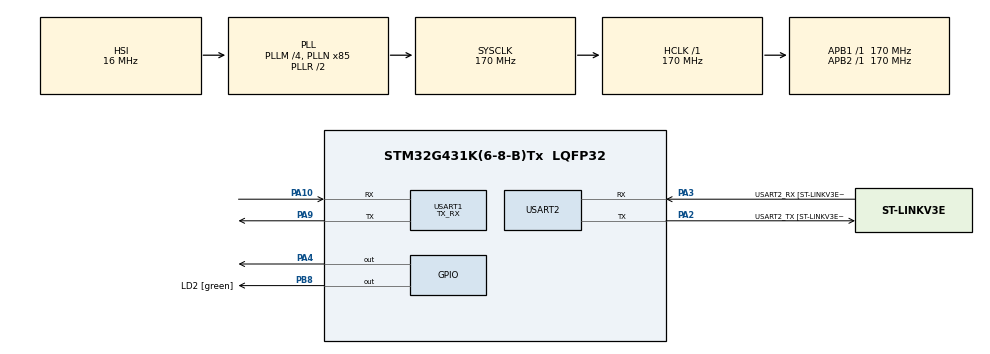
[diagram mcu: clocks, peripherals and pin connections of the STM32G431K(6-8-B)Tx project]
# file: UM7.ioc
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Mcu.Family=STM32G4
Mcu.Name=STM32G431K(6-8-B)Tx
Mcu.Package=LQFP32
NVIC.PriorityGroup=NVIC_PRIORITYGROUP_4
PA10.Mode=Asynchronous
PA10.Signal=USART1_RX
PA13.GPIO_Label=T_SWDIO
PA13.Mode=Serial_Wire
PA13.Signal=SYS_JTMS-SWDIO
PA14.GPIO_Label=T_SWCLK
PA14.Mode=Serial_Wire
PA14.Signal=SYS_JTCK-SWCLK
PA2.GPIO_Label=USART2_TX [ST-LINKV3E_VCP_RX]
PA2.Mode=Asynchronous
PA2.Signal=USART2_TX
PA3.GPIO_Label=USART2_RX [ST-LINKV3E_VCP_TX]
PA3.Mode=Asynchronous
PA3.Signal=USART2_RX
PA4.Signal=GPIO_Output
PA9.Mode=Asynchronous
PA9.Signal=USART1_TX
PB3.GPIO_Label=T_SWO
PB3.Signal=SYS_JTDO-SWO
PB8-BOOT0.GPIO_Label=LD2 [green]
PB8-BOOT0.Signal=GPIO_Output
ProjectManager.HeapSize=0x200
ProjectManager.StackSize=0x400
ProjectManager.TargetToolchain=STM32CubeIDE
RCC.ADC12Freq_Value=170000000
RCC.AHBFreq_Value=170000000
RCC.APB1Freq_Value=170000000
RCC.APB1TimFreq_Value=170000000
RCC.APB2Freq_Value=170000000
RCC.APB2TimFreq_Value=170000000
RCC.CortexFreq_Value=170000000
RCC.EXTERNAL_CLOCK_VALUE=12288000
RCC.HCLKFreq_Value=170000000
RCC.HSE_VALUE=8000000
RCC.HSI48_VALUE=48000000
RCC.HSI_VALUE=16000000
RCC.LSE_VALUE=32768
RCC.PLLM=RCC_PLLM_DIV4
RCC.PLLN=85
RCC.SYSCLKFreq_VALUE=170000000
RCC.SYSCLKSource=RCC_SYSCLKSOURCE_PLLCLK
RCC.USBFreq_Value=170000000
RCC.VCOOutputFreq_Value=340000000
USART1.Mode=MODE_TX_RX
USART1.StopBits=STOPBITS_1
USART1.VirtualMode-Asynchronous=VM_ASYNC
USART1.WordLength=WORDLENGTH_8B
USART2.VirtualMode-Asynchronous=VM_ASYNC
USART2.WordLength=WORDLENGTH_8B
board=NUCLEO-G431KB

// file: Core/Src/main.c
/* USER CODE BEGIN Header */
/**
  ******************************************************************************
  * @file           : main.c
  * @brief          : Main program body
  ******************************************************************************
  * @attention
  *
  * Copyright (c) 2023 STMicroelectronics.
  * All rights reserved.
  *
  * This software is licensed under terms that can be found in the LICENSE file
  * in the root directory of this software component.
  * If no LICENSE file comes with this software, it is provided AS-IS.
  *
  ******************************************************************************
  */
/* USER CODE END Header */
#include "main.h"

/* USER CODE BEGIN Includes */
#include<stdlib.h>
/* USER CODE END Includes */

UART_HandleTypeDef huart1;
UART_HandleTypeDef huart2;

void SystemClock_Config(void);
static void MX_GPIO_Init(void);
static void MX_USART2_UART_Init(void);
static void MX_USART1_UART_Init(void);
/* USER CODE BEGIN PFP */
void UART_PRINT_VAL(double value);
void UART_PRINT_TEXT(uint8_t* MSG);

void UM7_INIT(void);
uint32_t UM7_GET_DATA(uint8_t addr);
/* USER CODE END PFP */

int main(void)
{

  /* MCU Configuration--------------------------------------------------------*/

  /* Reset of all peripherals, Initializes the Flash interface and the Systick. */
  HAL_Init();

  /* Configure the system clock */
  SystemClock_Config();

  /* Initialize all configured peripherals */
  MX_GPIO_Init();
  MX_USART2_UART_Init();
  MX_USART1_UART_Init();
  /* USER CODE BEGIN 2 */
  	double xAccel = 0;
	double yAccel = 0;
	double zAccel = 0;
	double xMag = 0;
	double yMag = 0;
	double zMag = 0;
	double xGyro = 0;
	double yGyro = 0;
	double zGyro = 0;

	//HAL_GPIO_WritePin(GPIOA, GPIO_PIN_4, GPIO_PIN_SET);

	HAL_Delay(500);
	UM7_INIT();
	HAL_Delay(250);
  /* USER CODE END 2 */

  /* Infinite loop */
  /* USER CODE BEGIN WHILE */
  while (1)
  {
	  //xAccel = UM7_GET_DATA(0x65);
	  //yAccel = UM7_GET_DATA(0X66);
	  //zAccel = UM7_GET_DATA(0x67);

	  /*
	  uint8_t rx_data[11] = {0};
	  HAL_GPIO_WritePin(GPIOA, GPIO_PIN_4, GPIO_PIN_SET);
	  HAL_UART_Receive(&huart1, rx_data, 11, 50);
	  HAL_GPIO_WritePin(GPIOA, GPIO_PIN_4, GPIO_PIN_RESET);
	  UART_PRINT_TEXT(rx_data);
	  UART_PRINT_TEXT("\n");
	  */

	  //UART_PRINT_TEXT("Accelerometer: ");
	  //UART_PRINT_TEXT("( ");
	  //UART_PRINT_VAL(xAccel);
	  //UART_PRINT_TEXT(", ");
	  //UART_PRINT_VAL(yAccel);
	  //UART_PRINT_TEXT(", ");
	  //UART_PRINT_VAL(zAccel);
	  //UART_PRINT_TEXT(" )\n");
	  /*
	  UART_PRINT_TEXT("Magnetometer: ");
	  UART_PRINT_TEXT("( ");
	  UART_PRINT_VAL(xMag);
	  UART_PRINT_TEXT(", ");
	  UART_PRINT_VAL(yMag);
	  UART_PRINT_TEXT(", ");
	  UART_PRINT_VAL(zMag);
	  UART_PRINT_TEXT(" )\n");
	  UART_PRINT_TEXT("Gyro: ");
	  UART_PRINT_TEXT("( ");
	  UART_PRINT_VAL(xGyro);
	  UART_PRINT_TEXT(", ");
	  UART_PRINT_VAL(yGyro);
	  UART_PRINT_TEXT(", ");
	  UART_PRINT_VAL(zGyro);
	  */
	  //UART_PRINT_TEXT(" )\n");
	  HAL_Delay(30);
    /* USER CODE END WHILE */

  }
}

void SystemClock_Config(void)
{
  RCC_OscInitTypeDef RCC_OscInitStruct = {0};
  RCC_ClkInitTypeDef RCC_ClkInitStruct = {0};

  /** Configure the main internal regulator output voltage
  */
  HAL_PWREx_ControlVoltageScaling(PWR_REGULATOR_VOLTAGE_SCALE1_BOOST);

  /** Initializes the RCC Oscillators according to the specified parameters
  * in the RCC_OscInitTypeDef structure.
  */
  RCC_OscInitStruct.OscillatorType = RCC_OSCILLATORTYPE_HSI;
  RCC_OscInitStruct.HSIState = RCC_HSI_ON;
  RCC_OscInitStruct.HSICalibrationValue = RCC_HSICALIBRATION_DEFAULT;
  RCC_OscInitStruct.PLL.PLLState = RCC_PLL_ON;
  RCC_OscInitStruct.PLL.PLLSource = RCC_PLLSOURCE_HSI;
  RCC_OscInitStruct.PLL.PLLM = RCC_PLLM_DIV4;
  RCC_OscInitStruct.PLL.PLLN = 85;
  RCC_OscInitStruct.PLL.PLLP = RCC_PLLP_DIV2;
  RCC_OscInitStruct.PLL.PLLQ = RCC_PLLQ_DIV2;
  RCC_OscInitStruct.PLL.PLLR = RCC_PLLR_DIV2;
  if (HAL_RCC_OscConfig(&RCC_OscInitStruct) != HAL_OK)
  {
    Error_Handler();
  }

  /** Initializes the CPU, AHB and APB buses clocks
  */
  RCC_ClkInitStruct.ClockType = RCC_CLOCKTYPE_HCLK|RCC_CLOCKTYPE_SYSCLK
                              |RCC_CLOCKTYPE_PCLK1|RCC_CLOCKTYPE_PCLK2;
  RCC_ClkInitStruct.SYSCLKSource = RCC_SYSCLKSOURCE_PLLCLK;
  RCC_ClkInitStruct.AHBCLKDivider = RCC_SYSCLK_DIV1;
  RCC_ClkInitStruct.APB1CLKDivider = RCC_HCLK_DIV1;
  RCC_ClkInitStruct.APB2CLKDivider = RCC_HCLK_DIV1;

  if (HAL_RCC_ClockConfig(&RCC_ClkInitStruct, FLASH_LATENCY_4) != HAL_OK)
  {
    Error_Handler();
  }
}

static void MX_USART1_UART_Init(void)
{

  huart1.Instance = USART1;
  huart1.Init.BaudRate = 115200;
  huart1.Init.WordLength = UART_WORDLENGTH_8B;
  huart1.Init.StopBits = UART_STOPBITS_1;
  huart1.Init.Parity = UART_PARITY_NONE;
  huart1.Init.Mode = UART_MODE_TX_RX;
  huart1.Init.HwFlowCtl = UART_HWCONTROL_NONE;
  huart1.Init.OverSampling = UART_OVERSAMPLING_16;
  huart1.Init.OneBitSampling = UART_ONE_BIT_SAMPLE_DISABLE;
  huart1.Init.ClockPrescaler = UART_PRESCALER_DIV1;
  huart1.AdvancedInit.AdvFeatureInit = UART_ADVFEATURE_NO_INIT;
  if (HAL_UART_Init(&huart1) != HAL_OK)
  {
    Error_Handler();
  }
  if (HAL_UARTEx_SetTxFifoThreshold(&huart1, UART_TXFIFO_THRESHOLD_1_8) != HAL_OK)
  {
    Error_Handler();
  }
  if (HAL_UARTEx_SetRxFifoThreshold(&huart1, UART_RXFIFO_THRESHOLD_1_8) != HAL_OK)
  {
    Error_Handler();
  }
  if (HAL_UARTEx_DisableFifoMode(&huart1) != HAL_OK)
  {
    Error_Handler();
  }

}

static void MX_USART2_UART_Init(void)
{

  huart2.Instance = USART2;
  huart2.Init.BaudRate = 115200;
  huart2.Init.WordLength = UART_WORDLENGTH_8B;
  huart2.Init.StopBits = UART_STOPBITS_1;
  huart2.Init.Parity = UART_PARITY_NONE;
  huart2.Init.Mode = UART_MODE_TX_RX;
  huart2.Init.HwFlowCtl = UART_HWCONTROL_NONE;
  huart2.Init.OverSampling = UART_OVERSAMPLING_16;
  huart2.Init.OneBitSampling = UART_ONE_BIT_SAMPLE_DISABLE;
  huart2.Init.ClockPrescaler = UART_PRESCALER_DIV1;
  huart2.AdvancedInit.AdvFeatureInit = UART_ADVFEATURE_NO_INIT;
  if (HAL_UART_Init(&huart2) != HAL_OK)
  {
    Error_Handler();
  }
  if (HAL_UARTEx_SetTxFifoThreshold(&huart2, UART_TXFIFO_THRESHOLD_1_8) != HAL_OK)
  {
    Error_Handler();
  }
  if (HAL_UARTEx_SetRxFifoThreshold(&huart2, UART_RXFIFO_THRESHOLD_1_8) != HAL_OK)
  {
    Error_Handler();
  }
  if (HAL_UARTEx_DisableFifoMode(&huart2) != HAL_OK)
  {
    Error_Handler();
  }

}

static void MX_GPIO_Init(void)
{
  GPIO_InitTypeDef GPIO_InitStruct = {0};

  /* GPIO Ports Clock Enable */
  __HAL_RCC_GPIOA_CLK_ENABLE();
  __HAL_RCC_GPIOB_CLK_ENABLE();

  /*Configure GPIO pin Output Level */
  HAL_GPIO_WritePin(GPIOA, GPIO_PIN_4, GPIO_PIN_RESET);

  /*Configure GPIO pin Output Level */
  HAL_GPIO_WritePin(LD2_GPIO_Port, LD2_Pin, GPIO_PIN_RESET);

  /*Configure GPIO pin : PA4 */
  GPIO_InitStruct.Pin = GPIO_PIN_4;
  GPIO_InitStruct.Mode = GPIO_MODE_OUTPUT_PP;
  GPIO_InitStruct.Pull = GPIO_NOPULL;
  GPIO_InitStruct.Speed = GPIO_SPEED_FREQ_LOW;
  HAL_GPIO_Init(GPIOA, &GPIO_InitStruct);

  /*Configure GPIO pin : LD2_Pin */
  GPIO_InitStruct.Pin = LD2_Pin;
  GPIO_InitStruct.Mode = GPIO_MODE_OUTPUT_PP;
  GPIO_InitStruct.Pull = GPIO_NOPULL;
  GPIO_InitStruct.Speed = GPIO_SPEED_FREQ_LOW;
  HAL_GPIO_Init(LD2_GPIO_Port, &GPIO_InitStruct);

}

/* USER CODE BEGIN 4 */
void HAL_UART_RxCpltCallback(UART_HandleTypeDef *huart)
{

}

void UART_PRINT_VAL(double value){
	char total[50];
	sprintf(total, "%i", (int)value);
	strcat(total, ".");
	char temp[10];
	double currentVal = (value - (int) value);
	for(int a=0;a<1;a++){
		currentVal *= 10;
		sprintf(temp, "%i", abs((int)currentVal));
		strcat(total, temp);
		currentVal -= (int)currentVal;
	}
	HAL_UART_Transmit(&huart2, total, strlen(total), 100);
}
void UART_PRINT_TEXT(uint8_t* MSG){
	HAL_UART_Transmit(&huart2, MSG, strlen(MSG), 100);
}

void UM7_INIT(void){
	uint8_t tx_dataZero[4] = {0x00, 0x00, 0x00, 0x00};
	UM7_WRITE(0x02, tx_dataZero);
	UM7_WRITE(0x04, tx_dataZero);
	UM7_WRITE(0x05, tx_dataZero);
	UM7_WRITE(0x06, tx_dataZero);
	UM7_WRITE(0x07, tx_dataZero);
	HAL_Delay(5);
}
void UM7_WRITE(uint8_t addr, uint8_t data[4]){
	uint8_t tx_data[11];
	tx_data[0] = 's';
	tx_data[1] = 'n';
	tx_data[2] = 'p';
	tx_data[3] = 0b10000000;
	tx_data[4] = addr;
	tx_data[5] = data[0];
	tx_data[6] = data[1];
	tx_data[7] = data[2];
	tx_data[8] = data[3];
	uint16_t sum = 0;
	for(int a=0;a<9;a++){
		sum += tx_data[a];
	}
	tx_data[9] = sum>>8;
	tx_data[10] = sum;
	HAL_UART_Transmit(&huart1, tx_data, 11, 100);
}
uint32_t UM7_GET_DATA(uint8_t addr){
	uint16_t sum = 0;
	sum = 's' + 'n' + 'p' + addr;
	uint8_t front = sum>>8;
	uint8_t back = sum;
	uint8_t tx_data[11] = {'s', 'n', 'p', 0x00, addr, 0x00, 0x00, 0x00, 0x00, front, back};
	uint8_t rx_data[11];
	HAL_UART_Transmit(&huart1, tx_data, 11, 100);
	HAL_UART_Receive(&huart1, rx_data, 11, 100);
	return ((rx_data[5]<<24 | rx_data[6]<<16) | (rx_data[7]<<8 | rx_data[8]));
}
// SPI MODE STUFF COMMENTED OUT
/*
void UM7_WRITE(uint8_t addr, uint8_t data[4]){
	uint8_t tx_data[6] = {0x01, addr, data[0], data[1], data[2], data[3]};
	HAL_GPIO_WritePin(GPIOA, GPIO_PIN_4, GPIO_PIN_RESET);
	HAL_SPI_Transmit(&hspi1, tx_data, 6, 100);
	HAL_GPIO_WritePin(GPIOA, GPIO_PIN_4, GPIO_PIN_SET);
}
double UM7_GET_DATA(uint8_t addr){
	double val = 0;
	double value_exp = 0;
	double value_frac = 0;
	uint8_t tx_data[6] = {0x00, addr, 0x00, 0x00, 0x00, 0x00};
	uint8_t rx_data[6];
	HAL_GPIO_WritePin(GPIOA, GPIO_PIN_4, GPIO_PIN_RESET);
	//HAL_SPI_Transmit(&hspi1, tx_data, 2, 100);
	//HAL_SPI_Receive(&hspi1, rx_data, 4, 100);
	HAL_SPI_TransmitReceive(&hspi1, tx_data, rx_data, 6, HAL_MAX_DELAY);
	//HAL_SPI_Receive_IT(&hspi1, rx_data, 4);
	HAL_GPIO_WritePin(GPIOA, GPIO_PIN_4, GPIO_PIN_SET);
	value_exp = ((rx_data[2] & 0x7f) << 1) | (rx_data[3] >> 7);
	value_frac = ((rx_data[3] & 0x7f) << 16) | (rx_data[4] << 8 | rx_data[5]);
	//calc1 = power(2.0,value_exp - 127);
	val = (1.0 + value_frac / 10000000.0) * pow(2.0,value_exp - 127);
	return val;
}
*/
/* USER CODE END 4 */

void Error_Handler(void)
{
  __disable_irq();
  while (1)
  {
  }
}
